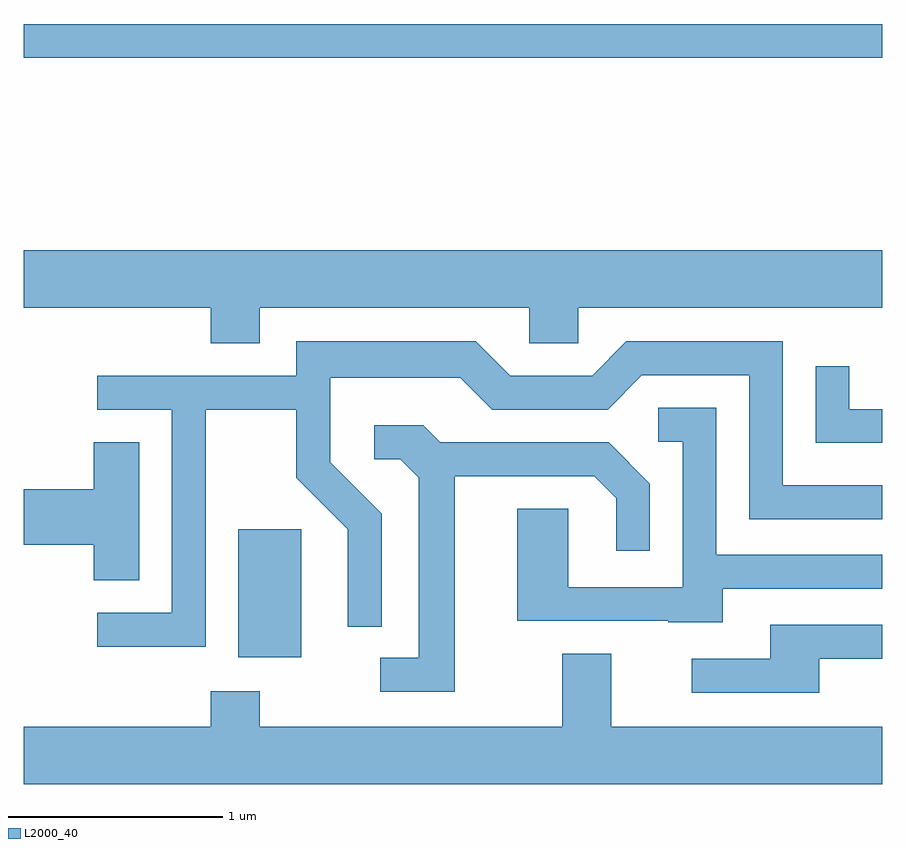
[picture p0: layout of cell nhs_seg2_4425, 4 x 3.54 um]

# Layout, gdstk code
import gdstk
lib = gdstk.Library(unit=1e-6, precision=1e-09)
def R(c, l, rs):  # rectangles x0, y0, x1, y1
    for r in rs: c.add(gdstk.rectangle(r[:2], r[2:], *l))
def P(c, l, *ps):  # polygons
    for p in ps: c.add(gdstk.Polygon(p, *l))
L2000_40 = (2000, 40)

nhs_seg2_4425 = lib.new_cell('nhs_seg2_4425')
R(nhs_seg2_4425, L2000_40, [(316.611,1024.486,316.904,1025.084), (315.611,1027.281,319.611,1027.439)])
P(nhs_seg2_4425, L2000_40, [(316.709,1026.116),(317.966,1026.116),(317.966,1025.951),(318.194,1025.951),(318.194,1026.116),(319.611,1026.116),(319.611,1026.384),(315.611,1026.384),(315.611,1026.116),(316.481,1026.116),(316.481,1025.951),(316.709,1025.951)],
  [(316.459,1025.641),(316.881,1025.641),(316.881,1025.324),(317.121,1025.084),(317.121,1024.628),(317.279,1024.628),(317.279,1025.157),(317.039,1025.397),(317.039,1025.791),(317.644,1025.791),(317.794,1025.641),(318.332,1025.641),(318.492,1025.801),(318.991,1025.801),(318.991,1025.131),(319.611,1025.131),(319.611,1025.289),(319.149,1025.289),(319.149,1025.959),(318.419,1025.959),(318.259,1025.799),(317.877,1025.799),(317.717,1025.959),(316.881,1025.959),(316.881,1025.799),(315.953,1025.799),(315.953,1025.641),(316.301,1025.641),(316.301,1024.694),(315.953,1024.694),(315.953,1024.536),(316.459,1024.536)],
  [(319.611,1025.644),(319.459,1025.644),(319.459,1025.843),(319.301,1025.843),(319.301,1025.486),(319.611,1025.486)],
  [(318.869,1024.806),(319.611,1024.806),(319.611,1024.964),(318.839,1024.964),(318.839,1025.649),(318.568,1025.649),(318.568,1025.491),(318.681,1025.491),(318.681,1024.814),(318.149,1024.814),(318.149,1025.179),(317.911,1025.179),(317.911,1024.656),(318.615,1024.656),(318.615,1024.651),(318.869,1024.651)],
  [(317.619,1025.331),(318.269,1025.331),(318.371,1025.228),(318.371,1024.983),(318.529,1024.983),(318.529,1025.296),(318.337,1025.489),(317.552,1025.489),(317.472,1025.569),(317.243,1025.569),(317.243,1025.411),(317.364,1025.411),(317.451,1025.324),(317.451,1024.484),(317.273,1024.484),(317.273,1024.326),(317.619,1024.326)],
  [(316.149,1025.489),(315.936,1025.489),(315.936,1025.269),(315.611,1025.269),(315.611,1025.011),(315.936,1025.011),(315.936,1024.846),(316.149,1024.846)],
  [(319.319,1024.481),(319.611,1024.481),(319.611,1024.639),(319.091,1024.639),(319.091,1024.479),(318.723,1024.479),(318.723,1024.321),(319.319,1024.321)],
  [(319.611,1024.164),(318.349,1024.164),(318.349,1024.504),(318.121,1024.504),(318.121,1024.164),(316.709,1024.164),(316.709,1024.329),(316.481,1024.329),(316.481,1024.164),(315.611,1024.164),(315.611,1023.896),(319.611,1023.896)])

lib.write_gds('nhs_seg2_4425.gds')
